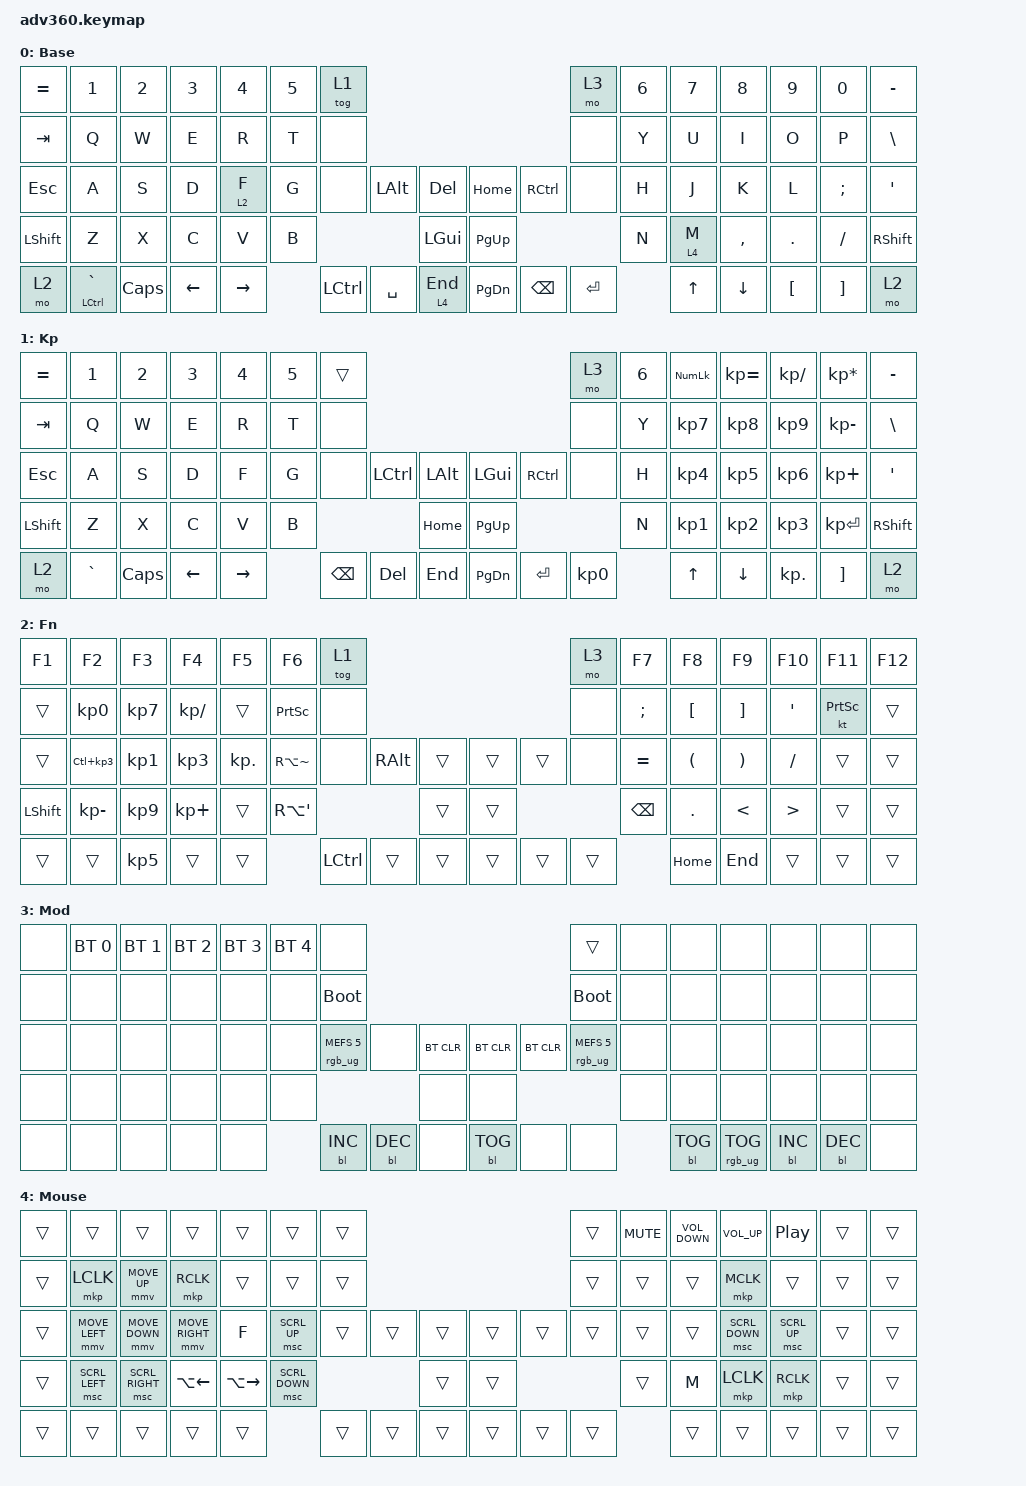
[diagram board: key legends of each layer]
#include <dt-bindings/zmk/stp.h>

#define ZMK_POINTING_DEFAULT_MOVE_VAL 800 // default 600
#define ZMK_POINTING_DEFAULT_SCRL_VAL 15 // default 10

#include <behaviors.dtsi>
#include <dt-bindings/zmk/backlight.h>
#include <dt-bindings/zmk/bt.h>
#include <dt-bindings/zmk/keys.h>
#include <dt-bindings/zmk/pointing.h>
#include <dt-bindings/zmk/rgb.h>

/ {
    behaviors {
        #include "macros.dtsi"
      #include "version.dtsi"

        hm: homerow_mods {
            compatible = "zmk,behavior-hold-tap";
            label = "HOMEROW_MODS";
            #binding-cells = <2>;
            tapping-term-ms = <200>;
            quick_tap_ms = <175>;
            flavor = "tap-preferred";
            bindings = <&kp>, <&kp>;
        };
    };

    keymap {
        compatible = "zmk,keymap";

        default_layer {
            display-name = "Base";
            bindings = <
&kp EQUAL  &kp N1           &kp N2    &kp N3    &kp N4     &kp N5  &tog 1                                                         &mo 3      &kp N6  &kp N7   &kp N8     &kp N9    &kp N0    &kp MINUS
&kp TAB    &kp Q            &kp W     &kp E     &kp R      &kp T   &none                                                          &none      &kp Y   &kp U    &kp I      &kp O     &kp P     &kp BSLH
&kp ESC    &kp A            &kp S     &kp D     &lt 2 F    &kp G   &none      &kp LALT   &kp DEL        &kp HOME   &kp RCTRL      &none      &kp H   &kp J    &kp K      &kp L     &kp SEMI  &kp SQT
&kp LSHFT  &kp Z            &kp X     &kp C     &kp V      &kp B                         &kp LGUI       &kp PG_UP                            &kp N   &lt 4 M  &kp COMMA  &kp DOT   &kp FSLH  &kp RSHFT
&mo 2      &mt LCTRL GRAVE  &kp CAPS  &kp LEFT  &kp RIGHT          &kp LCTRL  &kp SPACE  &lt 4 END      &kp PG_DN  &kp BACKSPACE  &kp ENTER          &kp UP   &kp DOWN   &kp LBKT  &kp RBKT  &mo 2
            >;
        };

        keypad {
            display-name = "Kp";
            bindings = <
&kp EQUAL  &kp N1     &kp N2    &kp N3    &kp N4     &kp N5  &trans                                                   &mo 3      &kp N6  &kp KP_NUM  &kp KP_EQUAL  &kp KP_DIVIDE  &kp KP_MULTIPLY  &kp MINUS
&kp TAB    &kp Q      &kp W     &kp E     &kp R      &kp T   &none                                                    &none      &kp Y   &kp KP_N7   &kp KP_N8     &kp KP_N9      &kp KP_MINUS     &kp BSLH
&kp ESC    &kp A      &kp S     &kp D     &kp F      &kp G   &none     &kp LCTRL  &kp LALT      &kp LGUI   &kp RCTRL  &none      &kp H   &kp KP_N4   &kp KP_N5     &kp KP_N6      &kp KP_PLUS      &kp SQT
&kp LSHFT  &kp Z      &kp X     &kp C     &kp V      &kp B                        &kp HOME      &kp PG_UP                        &kp N   &kp KP_N1   &kp KP_N2     &kp KP_N3      &kp KP_ENTER     &kp RSHFT
&mo 2      &kp GRAVE  &kp CAPS  &kp LEFT  &kp RIGHT          &kp BSPC  &kp DEL    &kp END       &kp PG_DN  &kp ENTER  &kp KP_N0          &kp UP      &kp DOWN      &kp KP_DOT     &kp RBKT         &mo 2
            >;
        };

        fn {
            display-name = "Fn";
            bindings = <
&kp F1     &kp F2         &kp F3     &kp F4        &kp F5      &kp F6           &tog 1                                                  &mo 3   &kp F7         &kp F8                &kp F9                 &kp F10    &kp F11          &kp F12
&trans     &kp KP_N0      &kp KP_N7  &kp KP_SLASH  &trans      &kp PRINTSCREEN  &none                                                   &none   &kp SEMICOLON  &kp LEFT_BRACKET      &kp RIGHT_BRACKET      &kp SQT    &kt PRINTSCREEN  &trans
&trans     &kp LC(KP_N3)  &kp KP_N1  &kp KP_N3     &kp KP_DOT  &kp RA(TILDE)    &none             &kp RALT  &trans      &trans  &trans  &none   &kp EQUAL      &kp LEFT_PARENTHESIS  &kp RIGHT_PARENTHESIS  &kp SLASH  &trans           &trans
&kp LSHFT  &kp KP_MINUS   &kp KP_N9  &kp KP_PLUS   &trans      &kp RA(SQT)                                  &trans      &trans                  &kp BACKSPACE  &kp DOT               &kp LT                 &kp GT     &trans           &trans
&trans     &trans         &kp KP_N5  &trans        &trans                       &kp LEFT_CONTROL  &trans    &trans      &trans  &trans  &trans                 &kp HOME              &kp END                &trans     &trans           &trans
            >;
        };

        mod {
            display-name = "Mod";
            bindings = <
&none  &bt BT_SEL 0  &bt BT_SEL 1  &bt BT_SEL 2  &bt BT_SEL 3  &bt BT_SEL 4  &none                                                                       &trans                  &none  &none       &none            &none       &none       &none
&none  &none         &none         &none         &none         &none         &bootloader                                                                 &bootloader             &none  &none       &none            &none       &none       &none
&none  &none         &none         &none         &none         &none         &rgb_ug RGB_MEFS_CMD 5  &none       &bt BT_CLR      &bt BT_CLR  &bt BT_CLR  &rgb_ug RGB_MEFS_CMD 5  &none  &none       &none            &none       &none       &none
&none  &none         &none         &none         &none         &none                                             &none           &none                                           &none  &none       &none            &none       &none       &none
&none  &none         &none         &none         &none                       &bl BL_INC              &bl BL_DEC  &none           &bl BL_TOG  &none       &none                          &bl BL_TOG  &rgb_ug RGB_TOG  &bl BL_INC  &bl BL_DEC  &none
            >;
        };

        Mouse {
            display-name = "Mouse";
            bindings = <
&trans  &trans          &trans           &trans           &trans         &trans          &trans                                      &trans  &kp K_MUTE  &kp C_VOLUME_DOWN  &kp C_VOLUME_UP  &kp C_PLAY_PAUSE  &trans  &trans
&trans  &mkp LCLK       &mmv MOVE_UP     &mkp RCLK        &trans         &trans          &trans                                      &trans  &trans      &trans             &mkp MCLK        &trans            &trans  &trans
&trans  &mmv MOVE_LEFT  &mmv MOVE_DOWN   &mmv MOVE_RIGHT  &kp F          &msc SCRL_UP    &trans  &trans  &trans      &trans  &trans  &trans  &trans      &trans             &msc SCRL_DOWN   &msc SCRL_UP      &trans  &trans
&trans  &msc SCRL_LEFT  &msc SCRL_RIGHT  &kp LA(LEFT)     &kp LA(RIGHT)  &msc SCRL_DOWN                  &trans      &trans                  &trans      &kp M              &mkp LCLK        &mkp RCLK         &trans  &trans
&trans  &trans          &trans           &trans           &trans                         &trans  &trans  &trans      &trans  &trans  &trans              &trans             &trans           &trans            &trans  &trans
            >;
        };

        extra1 {
            display-name = "Red";
            status = "reserved";
        };

        extra2 {
            display-name = "Purple";
            status = "reserved";
        };

        extra3 {
            display-name = "Cyan";
            status = "reserved";
        };

        extra4 {
            display-name = "Yellow";
            status = "reserved";
        };
    };
};
